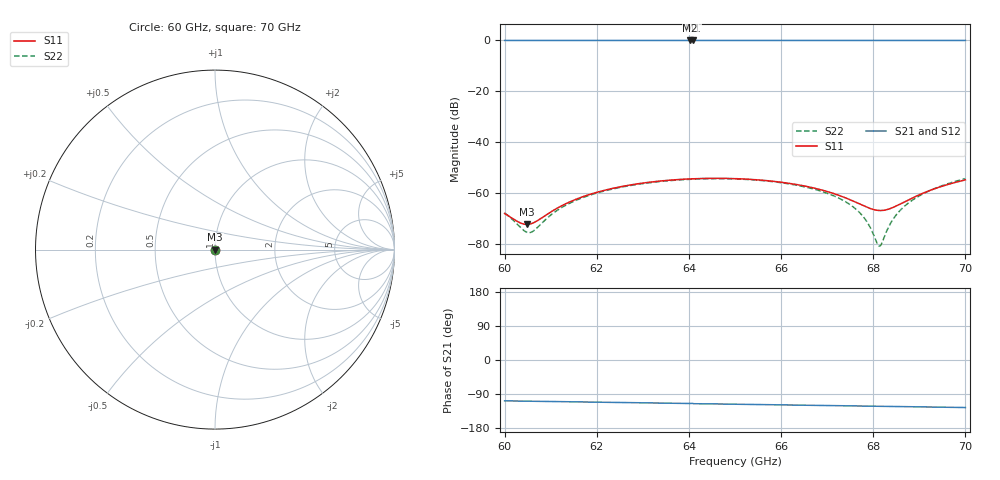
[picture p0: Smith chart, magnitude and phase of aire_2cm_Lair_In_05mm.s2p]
! TOUCHSTONE file generated by CST MICROWAVE STUDIO
! Date and time: Fri Mar  8 11:35:23 2024
! Project name: aire_def.cst
! Parameters = {d=9.25}
! Header version: 2018
! Port assignment regex: !\s*Touchstone port\s*([0-9]+)\s*=\s*(CST MWS port|CST DS port)\s*([0-9]+|Zmin|Zmax)\s*\(\"(.*)\"\)(\s*mode\s*([0-9]+))?.*
! Touchstone port assignment:
! Touchstone port 1 = CST MWS port 1 ("")
! Touchstone port 2 = CST MWS port 2 ("")
# GHz S MA R 376.7
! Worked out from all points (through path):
!   1001 points, 60 GHz to 70 GHz, reference 376.7 ohm
!   highest |S21| = 0.00 dB at 64.09 GHz (marker M1); lowest = 0.0 dB at 64.03 GHz (marker M2)
!   group delay of S21, straight-line fit = 4.9 ps
!   lowest |S11| = -72.4 dB at 60.48 GHz (marker M3), VSWR 1.00, Z = 377 - j0.18 ohm
!   |S11| at or under -10 dB: start of sweep to end of sweep
!   |S22| runs from -80.9 to -54.3 dB; largest |S21 - S12| = 0.012
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60  0.000395 -42.8  0.9998 -107.8  1 -107.8  0.000404 6.3
60.48  0.0002405 -97.6  0.9998 -108.6  1 -108.6  0.0001688 59.6
60.61  0.0002549 -118.2  0.9998 -108.9  1 -108.9  0.0001751 89.8
61.13  0.0004952 -163.0  0.9999 -109.8  1 -109.8  0.0004481 137.8
61.67  0.0008264 -178.7  0.9999 -110.8  1 -110.7  0.0007931 146.0
62.41  0.001267 170.4  0.9999 -112.1  1 -112.0  0.001234 148.5
63.34  0.001704 162.0  0.9999 -113.7  0.9999 -113.7  0.001667 148.3
64.03  0.001892 157.8  0.9994 -114.7  0.9999 -114.9  0.001858 147.6
64.09  0.001901 157.5  1 -115.0  0.9999 -115.0  0.001869 147.5
65  0.001913 155.1  1 -116.7  1 -116.6  0.001888 146.7
65.91  0.001664 156.6  1 -118.3  0.9999 -118.3  0.001634 146.6
66.67  0.001276 162.7  1 -119.6  0.9997 -119.6  0.001218 147.6
67.21  0.0009279 172.8  1 -120.5  0.9997 -120.5  0.0008252 149.9
67.6  0.0006695 -172.3  1 -121.2  0.9998 -121.2  0.0005014 154.3
67.85  0.0005298 -155.1  1 -121.7  0.9998 -121.7  0.0002828 162.8
68.12  0.0004524 -126.3  1 -122.1  0.9998 -122.1  9.073e-05 -134.0
68.2  0.0004529 -116.5  1 -122.3  0.9998 -122.3  0.00011 -89.9
68.34  0.0004827 -100.0  1 -122.5  0.9998 -122.5  0.0002201 -59.1
68.58  0.0006028 -77.8  1 -122.9  0.9998 -123.0  0.0004501 -46.1
68.92  0.000856 -59.0  1 -123.5  0.9998 -123.5  0.0007943 -40.5
69.4  0.001272 -44.8  1 -124.4  0.9999 -124.4  0.001293 -37.0
70  0.001805 -34.4  1 -125.4  0.9999 -125.4  0.001917 -34.4
